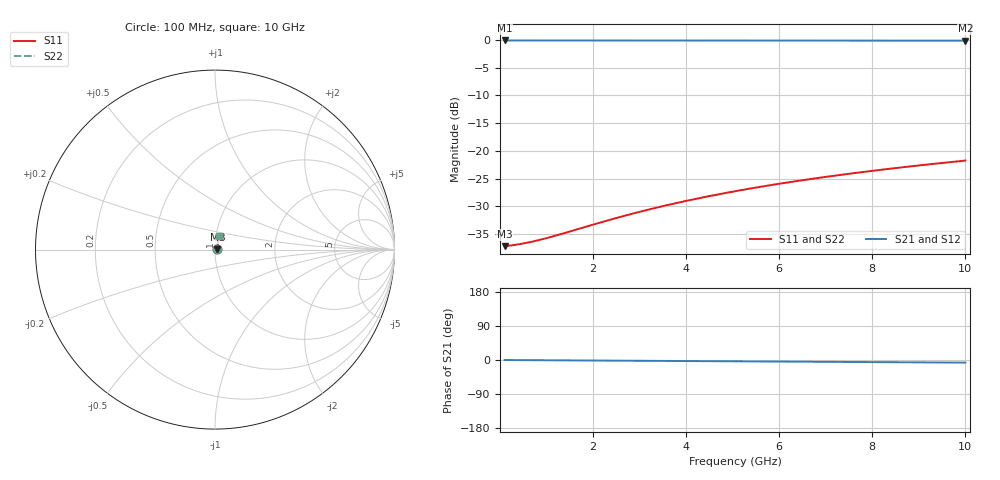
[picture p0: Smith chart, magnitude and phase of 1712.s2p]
# Hz S RI R 50.00
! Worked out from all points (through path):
!   100 points, 100 MHz to 10 GHz, reference 50 ohm
!   highest |S21| = -0.12 dB at 100 MHz (marker M1); lowest = -0.2 dB at 10 GHz (marker M2)
!   lowest |S11| = -37.1 dB at 100 MHz (marker M3), VSWR 1.03, Z = 51.4 + j0.0814 ohm
!   |S11| at or under -10 dB: start of sweep to end of sweep
!   |S22| runs from -37.1 to -21.7 dB; largest |S21 - S12| = 0
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1e8  0.0139 0.000792  0.9861 -0.00119  0.9861 -0.00119  0.0139 0.000792
4e8  0.0141 0.00316  0.9859 -0.00477  0.9859 -0.00477  0.0141 0.00316
6e8  0.0142 0.00475  0.9858 -0.00716  0.9858 -0.00716  0.0142 0.00475
8e8  0.0143 0.00633  0.9857 -0.00955  0.9857 -0.00955  0.0143 0.00633
1e9  0.0144 0.00791  0.9856 -0.0119  0.9856 -0.0119  0.0144 0.00791
1.2e9  0.0145 0.00949  0.9855 -0.0143  0.9855 -0.0143  0.0145 0.00949
1.8e9  0.0148 0.0142  0.9852 -0.0215  0.9852 -0.0215  0.0148 0.0142
2.2e9  0.015 0.0174  0.985 -0.0262  0.985 -0.0262  0.015 0.0174
2.6e9  0.0152 0.0205  0.9847 -0.031  0.9847 -0.031  0.0152 0.0205
3e9  0.0155 0.0237  0.9844 -0.0358  0.9844 -0.0358  0.0155 0.0237
3.4e9  0.0158 0.0268  0.9841 -0.0405  0.9841 -0.0405  0.0158 0.0268
3.8e9  0.0161 0.03  0.9838 -0.0453  0.9838 -0.0453  0.0161 0.03
4.2e9  0.0164 0.0331  0.9834 -0.05  0.9834 -0.05  0.0164 0.0331
4.6e9  0.0168 0.0362  0.983 -0.0548  0.983 -0.0548  0.0168 0.0362
5.1e9  0.0173 0.0402  0.9825 -0.0607  0.9825 -0.0607  0.0173 0.0402
5.5e9  0.0178 0.0433  0.982 -0.0654  0.982 -0.0654  0.0178 0.0433
5.9e9  0.0182 0.0464  0.9815 -0.0702  0.9815 -0.0702  0.0182 0.0464
6.7e9  0.0192 0.0526  0.9804 -0.0796  0.9804 -0.0796  0.0192 0.0526
7.5e9  0.0204 0.0588  0.9791 -0.089  0.9791 -0.089  0.0204 0.0588
8.4e9  0.0218 0.0658  0.9776 -0.0996  0.9776 -0.0996  0.0218 0.0658
9.2e9  0.0232 0.0719  0.9761 -0.109  0.9761 -0.109  0.0232 0.0719
1e10  0.0247 0.078  0.9745 -0.1183  0.9745 -0.1183  0.0247 0.078
